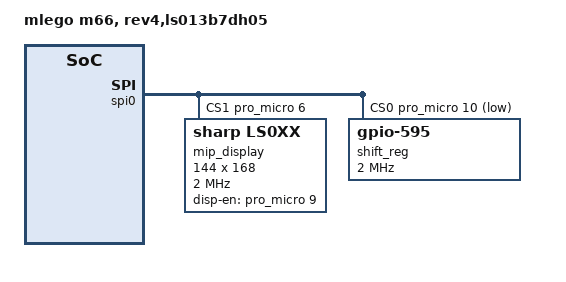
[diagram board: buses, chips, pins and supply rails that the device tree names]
/*
 * Copyright (c) 2022-2024 alin m elena
 * SPDX-License-Identifier: MIT
 */

/ {
   model = "mlego m66, rev4,ls013b7dh05";

   chosen {
     zephyr,display = &mip_display;
   };

};

board_spi: &spi0 {
  status = "okay";
  compatible = "nordic,nrf-spim";
  pinctrl-0 = <&spi0_default>;
  pinctrl-1 = <&spi0_sleep>;
  pinctrl-names = "default", "sleep";

  cs-gpios =  <&pro_micro 10 GPIO_ACTIVE_LOW>
            , <&pro_micro 6 GPIO_ACTIVE_HIGH> ;

  mip_display: ls0xx@1 {
    compatible = "sharp,ls0xx";
    status = "okay";
    spi-max-frequency = <2000000>;
    disp-en-gpios =  <&pro_micro 9 GPIO_ACTIVE_HIGH>;
    reg = <1>;
    width = <144>;
    height = <168>;
  };

  shift_reg: 595@0 {
    compatible = "zmk,gpio-595";
    status = "okay";
    gpio-controller;
    spi-max-frequency = <2000000>;
    #gpio-cells = <2>;
    reg = <0>;
    ngpios = <16>;
  };
};
